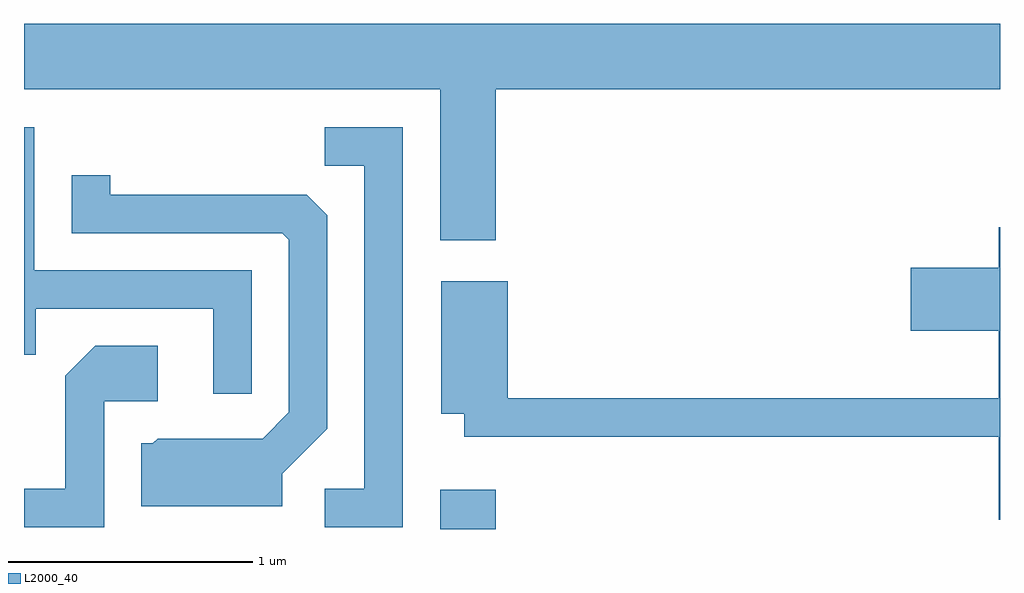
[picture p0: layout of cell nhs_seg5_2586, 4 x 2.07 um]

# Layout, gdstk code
import gdstk
lib = gdstk.Library(unit=1e-6, precision=1e-09)
def R(c, l, rs):  # rectangles x0, y0, x1, y1
    for r in rs: c.add(gdstk.rectangle(r[:2], r[2:], *l))
def P(c, l, *ps):  # polygons
    for p in ps: c.add(gdstk.Polygon(p, *l))
L2000_40 = (2000, 40)

nhs_seg5_2586 = lib.new_cell('nhs_seg5_2586')
R(nhs_seg5_2586, L2000_40, [(263.316,1486.072,263.544,1486.234)])
P(nhs_seg5_2586, L2000_40, [(263.544,1487.876),(265.611,1487.876),(265.611,1488.144),(261.611,1488.144),(261.611,1487.876),(263.316,1487.876),(263.316,1487.256),(263.544,1487.256)],
  [(263.164,1487.719),(262.843,1487.719),(262.843,1487.561),(263.006,1487.561),(263.006,1486.239),(262.843,1486.239),(262.843,1486.081),(263.164,1486.081)],
  [(262.544,1487.134),(261.654,1487.134),(261.654,1487.719),(261.611,1487.719),(261.611,1486.788),(261.659,1486.788),(261.659,1486.976),(262.386,1486.976),(262.386,1486.628),(262.544,1486.628)],
  [(262.669,1486.299),(262.854,1486.484),(262.854,1487.359),(262.769,1487.444),(261.964,1487.444),(261.964,1487.523),(261.806,1487.523),(261.806,1487.286),(262.669,1487.286),(262.696,1487.259),(262.696,1486.552),(262.589,1486.444),(262.159,1486.444),(262.139,1486.424),(262.091,1486.424),(262.091,1486.166),(262.669,1486.166)],
  [(265.611,1487.309),(265.606,1487.309),(265.606,1487.144),(265.246,1487.144),(265.246,1486.886),(265.606,1486.886),(265.606,1486.609),(263.594,1486.609),(263.594,1487.089),(263.321,1487.089),(263.321,1486.546),(263.416,1486.546),(263.416,1486.451),(265.606,1486.451),(265.606,1486.111),(265.611,1486.111)],
  [(261.939,1486.596),(262.159,1486.596),(262.159,1486.824),(261.904,1486.824),(261.781,1486.702),(261.781,1486.239),(261.611,1486.239),(261.611,1486.081),(261.939,1486.081)])

lib.write_gds('nhs_seg5_2586.gds')
